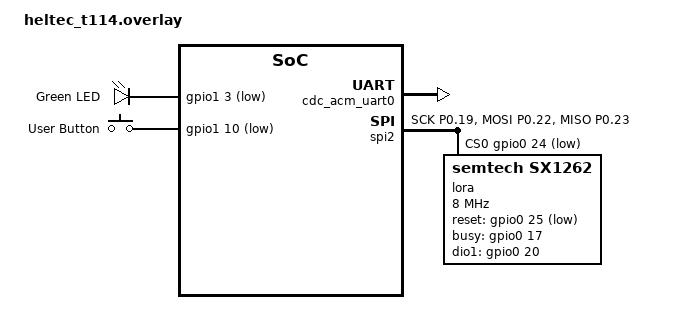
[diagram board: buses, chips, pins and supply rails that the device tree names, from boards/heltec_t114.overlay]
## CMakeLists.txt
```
cmake_minimum_required(VERSION 3.20.0)
find_package(Zephyr REQUIRED HINTS $ENV{ZEPHYR_BASE})
project(lichen_bridge)

# Bridge-zephyr subsystem sources (directly in app since zephyr_library
# from app subdirs doesn't auto-link)
target_sources(app PRIVATE
    src/main.c
    subsys/lichen/lora_l2.c
    subsys/lichen/ipv6_addr.c
)

# Add lichen_l2.c only when full networking stack is enabled
target_sources_ifdef(CONFIG_LICHEN_L2 app PRIVATE
    subsys/lichen/lichen_l2.c
)

# Include headers from subsystems
target_include_directories(app PRIVATE
    ${CMAKE_CURRENT_SOURCE_DIR}/subsys/lichen
)
```

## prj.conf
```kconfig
# LICHEN LoRa Bridge - Zephyr config
#
# Common settings for all boards.
# Board-specific settings go in boards/<board>.conf

# Logging
CONFIG_LOG=y
CONFIG_PRINTK=y
CONFIG_LOG_MODE_IMMEDIATE=y

# SPI is used by supported LoRa board overlays. Boards without a LoRa radio
# leave CONFIG_LORA/CONFIG_LICHEN_LORA_L2 disabled.
CONFIG_SPI=y

# GPIO for LED
CONFIG_GPIO=y

# Random number generator (fallback for EUI-64 if no hwinfo)
CONFIG_ENTROPY_GENERATOR=y
CONFIG_TEST_RANDOM_GENERATOR=y

# Hardware info for stable EUI-64 identity
CONFIG_HWINFO=y

# LICHEN subsystem
CONFIG_LICHEN=y
CONFIG_LICHEN_IPV6=y

# Full Zephyr networking is required for LoRa RX ingress. The legacy
# standalone LICHEN_LORA_L2 mode is disabled because it dropped inbound frames.
CONFIG_NETWORKING=y
CONFIG_NET_IPV6=y
CONFIG_NET_IPV4=n
CONFIG_NET_PKT_RX_COUNT=8
CONFIG_NET_PKT_TX_COUNT=8
CONFIG_NET_BUF_RX_COUNT=16
CONFIG_NET_BUF_TX_COUNT=16

# Safety (spec appendix-c-safety)
CONFIG_STACK_CANARIES=y
CONFIG_STACK_SENTINEL=y
CONFIG_ASSERT=y
CONFIG_ASSERT_VERBOSE=y

# TinyCrypt SHA-256 (lora_l2 EUI-64 identity derivation; the module-owned
# lichen_pubkey_to_iid uses Monocypher SHA-512, not this)
CONFIG_TINYCRYPT=y
CONFIG_TINYCRYPT_SHA256=y

# Routing subsystem (required for announce scheduler)
CONFIG_LICHEN_ROUTING=y

# Periodic announce transmission (spec 9.4)
# Announces node presence every 300s with 0-30s jitter
CONFIG_LICHEN_ANNOUNCE_SCHEDULER=y
```

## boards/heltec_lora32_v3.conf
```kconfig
# Heltec WiFi LoRa 32 V3 board-specific config
#
# ESP32-S3 uses native USB CDC for console.

# USB CDC-ACM serial
CONFIG_USB_DEVICE_STACK=y
CONFIG_USB_CDC_ACM=y
CONFIG_USB_DEVICE_INITIALIZE_AT_BOOT=y
CONFIG_UART_INTERRUPT_DRIVEN=y

# SPI for SX1262
CONFIG_SPI=y
```

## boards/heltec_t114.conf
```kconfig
# Heltec Mesh Node T114 board-specific config
#
# nRF52840 with native USB CDC-ACM.

# USB CDC-ACM serial
CONFIG_USB_DEVICE_STACK=y
CONFIG_USB_CDC_ACM=y
CONFIG_USB_DEVICE_INITIALIZE_AT_BOOT=y
CONFIG_UART_INTERRUPT_DRIVEN=y
CONFIG_USB_DEVICE_VID=0x239A
CONFIG_USB_DEVICE_PID=0x0029
CONFIG_USB_DEVICE_PRODUCT="LICHEN LoRa Bridge"
CONFIG_USB_DEVICE_MANUFACTURER="LICHEN"

# SPI for SX1262
CONFIG_SPI=y
```

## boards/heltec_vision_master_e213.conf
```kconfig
# Heltec Vision Master E213 board-specific config
#
# ESP32-S3 with USB-C uses native USB CDC for console.

# USB CDC-ACM serial
CONFIG_USB_DEVICE_STACK=y
CONFIG_USB_CDC_ACM=y
CONFIG_USB_DEVICE_INITIALIZE_AT_BOOT=y
CONFIG_UART_INTERRUPT_DRIVEN=y

# SPI for SX1262
CONFIG_SPI=y
```

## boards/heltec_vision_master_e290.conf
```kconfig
# Heltec Vision Master E290 board-specific config
#
# ESP32-S3 with USB-C uses native USB CDC for console.

# USB CDC-ACM serial
CONFIG_USB_DEVICE_STACK=y
CONFIG_USB_CDC_ACM=y
CONFIG_USB_DEVICE_INITIALIZE_AT_BOOT=y
CONFIG_UART_INTERRUPT_DRIVEN=y

# SPI for SX1262
CONFIG_SPI=y
```

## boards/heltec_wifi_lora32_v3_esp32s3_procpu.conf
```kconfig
# SPDX-License-Identifier: GPL-3.0-or-later
# SPDX-FileCopyrightText: The contributors to the LICHEN project
#
# Heltec WiFi LoRa 32 V3 gateway config — ESP32-S3 + SX1262 for bridge-zephyr
# WiFi backhaul, UART console on UART1.

CONFIG_LORA=y
CONFIG_LORA_SX126X=y
CONFIG_LICHEN_HAS_LORA=y
CONFIG_LICHEN_RADIO_MODEL_SX126X=y

# WiFi Kconfig fix for ESP32-S3 Heltec V3 (espressif driver, not CONFIG_ESP32_WIFI_STA)
CONFIG_WIFI=y
CONFIG_WIFI_NM=y
CONFIG_ESP_WIFI_ENABLED=y
CONFIG_ESP_WIFI_STA_DISCONNECTED_PM_ENABLE=y

# Bench: UART1 console for non-destructive serial monitoring (avoids CP2102 reset on UART0, see lora_ipv6_mesh-9ia2)
# CONFIG_UART_INTERRUPT_DRIVEN required for Zephyr shell/uart driver on ESP32 (polling insufficient for interactive use)
CONFIG_UART_CONSOLE=y
CONFIG_CONSOLE=y
CONFIG_SERIAL=y
CONFIG_UART_INTERRUPT_DRIVEN=y
```

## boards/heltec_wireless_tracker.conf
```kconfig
# Heltec Wireless Tracker V1.1 board-specific config
#
# ESP32-S3 uses UART0 for console via native USB CDC.

# Disable USB CDC (use UART0 console)
CONFIG_USB_DEVICE_STACK=n
CONFIG_USB_CDC_ACM=n

# UART console
CONFIG_SERIAL=y
CONFIG_CONSOLE=y
CONFIG_UART_CONSOLE=y

# SPI for SX1262
CONFIG_SPI=y
```

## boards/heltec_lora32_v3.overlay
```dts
/*
 * Heltec WiFi LoRa 32 V3 device tree overlay for LICHEN bridge
 *
 * ESP32-S3 + SX1262 LoRa
 *
 * SX1262 SPI pins:
 *   SCK  = GPIO9
 *   MISO = GPIO11
 *   MOSI = GPIO10
 *   NSS  = GPIO8
 *
 * SX1262 control pins:
 *   RESET = GPIO12
 *   BUSY  = GPIO13
 *   DIO1  = GPIO14
 *
 * OLED display (0.96" SSD1306, I2C):
 *   SDA = GPIO17
 *   SCL = GPIO18
 *   RST = GPIO21
 *
 * Vext power control = GPIO36 (active low)
 */

#include <zephyr/dt-bindings/pinctrl/esp32s3-pinctrl.h>

/ {
	chosen {
		zephyr,console = &usb_serial;
		zephyr,shell-uart = &usb_serial;
	};

	aliases {
		led0 = &white_led;
		lora0 = &lora;
	};

	leds {
		compatible = "gpio-leds";
		white_led: led_0 {
			gpios = <&gpio1 3 GPIO_ACTIVE_LOW>;  /* GPIO35 */
			label = "White LED";
		};
	};
};

&pinctrl {
	/* SPI2 for SX1262 */
	spim2_default: spim2_default {
		group1 {
			pinmux = <SPIM2_MISO_GPIO11>,
				 <SPIM2_SCLK_GPIO9>;
		};
		group2 {
			pinmux = <SPIM2_MOSI_GPIO10>;
			output-low;
		};
	};
};

&usb_serial {
	status = "okay";
};

&spi2 {
	status = "okay";
	#address-cells = <1>;
	#size-cells = <0>;
	pinctrl-0 = <&spim2_default>;
	pinctrl-names = "default";
	cs-gpios = <&gpio0 8 GPIO_ACTIVE_LOW>;  /* NSS = GPIO8 */

	lora: sx1262@0 {
		compatible = "semtech,sx1262";
		reg = <0>;
		spi-max-frequency = <8000000>;
		reset-gpios = <&gpio0 12 GPIO_ACTIVE_LOW>;  /* RESET = GPIO12 */
		busy-gpios = <&gpio0 13 GPIO_ACTIVE_HIGH>;  /* BUSY = GPIO13 */
		dio1-gpios = <&gpio0 14 GPIO_ACTIVE_HIGH>;  /* DIO1 = GPIO14 */
		/* DIO2 controls RF switch internally on SX1262 */
		dio2-tx-enable;
	};
};

&gpio0 {
	status = "okay";
};

&gpio1 {
	status = "okay";
};
```

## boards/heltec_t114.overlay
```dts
/*
 * Heltec Mesh Node T114 device tree overlay for LICHEN bridge
 *
 * nRF52840 + SX1262 LoRa + optional 1.14" ST7789 TFT + L76K GPS
 *
 * SX1262 SPI pins:
 *   MOSI  = P0.22
 *   MISO  = P0.23
 *   SCK   = P0.19
 *   NSS   = P0.24
 *
 * SX1262 control pins:
 *   RESET = P0.25
 *   BUSY  = P0.17
 *   DIO1  = P0.20
 *   VEXT  = P0.21 (external power control)
 *
 * GPS L76K UART (optional module):
 *   RX    = P1.05 (37)   PPS     = P1.04 (36)
 *   TX    = P1.07 (39)   STANDBY = P1.02 (34)
 *
 * ST7789 Display (optional accessory):
 *   MOSI  = P1.09 (41)   DC      = P0.12
 *   SCK   = P1.08 (40)   RST     = P0.02
 *   CS    = P0.11        BL      = P0.15
 *
 * User button: P1.10 (active low)
 * LED: Green P1.03
 * Battery ADC: P0.04 (control: P0.06)
 */

/ {
	chosen {
		zephyr,console = &cdc_acm_uart0;
		zephyr,shell-uart = &cdc_acm_uart0;
	};

	aliases {
		led0 = &green_led;
		lora0 = &lora;
		sw0 = &button0;
	};

	leds {
		compatible = "gpio-leds";
		green_led: led_0 {
			gpios = <&gpio1 3 GPIO_ACTIVE_LOW>;
			label = "Green LED";
		};
	};

	buttons {
		compatible = "gpio-keys";
		button0: button_0 {
			gpios = <&gpio1 10 (GPIO_PULL_UP | GPIO_ACTIVE_LOW)>;
			label = "User Button";
		};
	};
};

&zephyr_udc0 {
	cdc_acm_uart0: cdc_acm_uart0 {
		compatible = "zephyr,cdc-acm-uart";
	};
};

/* SX1262 on SPI2 */
&spi2 {
	status = "okay";
	pinctrl-0 = <&spi2_default>;
	pinctrl-1 = <&spi2_sleep>;
	pinctrl-names = "default", "sleep";
	cs-gpios = <&gpio0 24 GPIO_ACTIVE_LOW>;  /* P0.24 = NSS */

	lora: sx1262@0 {
		compatible = "semtech,sx1262";
		reg = <0>;
		spi-max-frequency = <8000000>;
		reset-gpios = <&gpio0 25 GPIO_ACTIVE_LOW>;   /* P0.25 = RST */
		busy-gpios = <&gpio0 17 GPIO_ACTIVE_HIGH>;   /* P0.17 = BUSY */
		dio1-gpios = <&gpio0 20 GPIO_ACTIVE_HIGH>;   /* P0.20 = DIO1 */
		/* DIO2 controls RF switch internally */
		dio2-tx-enable;
		/* TCXO wakeup time in ms */
		tcxo-wakeup-time = <5>;
	};
};

&pinctrl {
	spi2_default: spi2_default {
		group1 {
			psels = <NRF_PSEL(SPIM_SCK, 0, 19)>,
				<NRF_PSEL(SPIM_MOSI, 0, 22)>,
				<NRF_PSEL(SPIM_MISO, 0, 23)>;
		};
	};

	spi2_sleep: spi2_sleep {
		group1 {
			psels = <NRF_PSEL(SPIM_SCK, 0, 19)>,
				<NRF_PSEL(SPIM_MOSI, 0, 22)>,
				<NRF_PSEL(SPIM_MISO, 0, 23)>;
			low-power-enable;
		};
	};
};
```

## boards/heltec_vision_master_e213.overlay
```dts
/*
 * Heltec Vision Master E213 device tree overlay for LICHEN bridge
 *
 * ESP32-S3 + SX1262 LoRa + 2.13" E-ink display
 *
 * SX1262 SPI pins:
 *   SCK  = GPIO9
 *   MISO = GPIO11
 *   MOSI = GPIO10
 *   NSS  = GPIO8
 *
 * SX1262 control pins:
 *   RESET = GPIO12
 *   BUSY  = GPIO13 (active high, directly wired to DIO2)
 *   DIO1  = GPIO14
 *
 * E-ink display (not used by bridge):
 *   CS   = GPIO5
 *   BUSY = GPIO1
 *   DC   = GPIO2
 *   RES  = GPIO3
 *   SCLK = GPIO4
 *   MOSI = GPIO6
 *
 * Vext power control = GPIO18 (active high)
 * ADC control = GPIO46
 * Battery ADC = GPIO7
 * LED power = GPIO45
 * User button = GPIO21
 */

#include <zephyr/dt-bindings/pinctrl/esp32s3-pinctrl.h>

/ {
	chosen {
		zephyr,console = &usb_serial;
		zephyr,shell-uart = &usb_serial;
	};

	aliases {
		lora0 = &lora;
	};
};

&pinctrl {
	/* SPI2 for SX1262 */
	spim2_default: spim2_default {
		group1 {
			pinmux = <SPIM2_MISO_GPIO11>,
				 <SPIM2_SCLK_GPIO9>;
		};
		group2 {
			pinmux = <SPIM2_MOSI_GPIO10>;
			output-low;
		};
	};
};

&usb_serial {
	status = "okay";
};

&spi2 {
	status = "okay";
	#address-cells = <1>;
	#size-cells = <0>;
	pinctrl-0 = <&spim2_default>;
	pinctrl-names = "default";
	cs-gpios = <&gpio0 8 GPIO_ACTIVE_LOW>;  /* NSS = GPIO8 */

	lora: sx1262@0 {
		compatible = "semtech,sx1262";
		reg = <0>;
		spi-max-frequency = <8000000>;
		reset-gpios = <&gpio0 12 GPIO_ACTIVE_LOW>;  /* RESET = GPIO12 */
		busy-gpios = <&gpio0 13 GPIO_ACTIVE_HIGH>;  /* BUSY = GPIO13 */
		dio1-gpios = <&gpio0 14 GPIO_ACTIVE_HIGH>;  /* DIO1 = GPIO14 */
		/* DIO2 controls RF switch internally on SX1262 */
		dio2-tx-enable;
	};
};

&gpio0 {
	status = "okay";
};

&gpio1 {
	status = "okay";
};
```

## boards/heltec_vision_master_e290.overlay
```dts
/*
 * Heltec Vision Master E290 device tree overlay for LICHEN bridge
 *
 * ESP32-S3 + SX1262 LoRa + 2.9" E-ink display
 *
 * SX1262 SPI pins (same as E213):
 *   SCK  = GPIO9
 *   MISO = GPIO11
 *   MOSI = GPIO10
 *   NSS  = GPIO8
 *
 * SX1262 control pins (same as E213):
 *   RESET = GPIO12
 *   BUSY  = GPIO13 (active high, directly wired to DIO2)
 *   DIO1  = GPIO14
 *
 * E-ink display (not used by bridge, pins differ from E213):
 *   CS   = GPIO3
 *   BUSY = GPIO6
 *   DC   = GPIO4
 *   RES  = GPIO5
 *   SCLK = GPIO2
 *   MOSI = GPIO1
 *
 * Vext power control = GPIO18 (active high)
 * ADC control = GPIO46
 * Battery ADC = GPIO7
 * LED power = GPIO45
 * User button = GPIO21
 */

#include <zephyr/dt-bindings/pinctrl/esp32s3-pinctrl.h>

/ {
	chosen {
		zephyr,console = &usb_serial;
		zephyr,shell-uart = &usb_serial;
	};

	aliases {
		lora0 = &lora;
	};
};

&pinctrl {
	/* SPI2 for SX1262 */
	spim2_default: spim2_default {
		group1 {
			pinmux = <SPIM2_MISO_GPIO11>,
				 <SPIM2_SCLK_GPIO9>;
		};
		group2 {
			pinmux = <SPIM2_MOSI_GPIO10>;
			output-low;
		};
	};
};

&usb_serial {
	status = "okay";
};

&spi2 {
	status = "okay";
	#address-cells = <1>;
	#size-cells = <0>;
	pinctrl-0 = <&spim2_default>;
	pinctrl-names = "default";
	cs-gpios = <&gpio0 8 GPIO_ACTIVE_LOW>;  /* NSS = GPIO8 */

	lora: sx1262@0 {
		compatible = "semtech,sx1262";
		reg = <0>;
		spi-max-frequency = <8000000>;
		reset-gpios = <&gpio0 12 GPIO_ACTIVE_LOW>;  /* RESET = GPIO12 */
		busy-gpios = <&gpio0 13 GPIO_ACTIVE_HIGH>;  /* BUSY = GPIO13 */
		dio1-gpios = <&gpio0 14 GPIO_ACTIVE_HIGH>;  /* DIO1 = GPIO14 */
		/* DIO2 controls RF switch internally on SX1262 */
		dio2-tx-enable;
	};
};

&gpio0 {
	status = "okay";
};

&gpio1 {
	status = "okay";
};
```

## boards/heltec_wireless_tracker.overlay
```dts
/*
 * Heltec Wireless Tracker V1.1 device tree overlay for LICHEN bridge
 *
 * ESP32-S3 + SX1262 LoRa + UC6580 GNSS + ST7735 TFT
 *
 * SX1262 SPI pins:
 *   SCK  = GPIO9
 *   MISO = GPIO11
 *   MOSI = GPIO10
 *   NSS  = GPIO8
 *
 * SX1262 control pins:
 *   RESET = GPIO12
 *   BUSY  = GPIO13
 *   DIO1  = GPIO14
 *
 * Display (ST7735, active but unused by bridge):
 *   MOSI = GPIO42, SCK = GPIO41, DC = GPIO40
 *   RST = GPIO39, CS = GPIO38, BL = GPIO21
 *
 * GNSS UC6580 (active but unused by bridge):
 *   RX = GPIO33, TX = GPIO34, PWR_EN = GPIO3 (HIGH to enable)
 */

#include <zephyr/dt-bindings/pinctrl/esp32s3-pinctrl.h>

/ {
	chosen {
		zephyr,console = &uart0;
		zephyr,shell-uart = &uart0;
	};

	aliases {
		lora0 = &lora;
	};
};

&pinctrl {
	/* SPI2 for SX1262 */
	spim2_default: spim2_default {
		group1 {
			pinmux = <SPIM2_MISO_GPIO11>,
				 <SPIM2_SCLK_GPIO9>;
		};
		group2 {
			pinmux = <SPIM2_MOSI_GPIO10>;
			output-low;
		};
	};
};

&spi2 {
	status = "okay";
	#address-cells = <1>;
	#size-cells = <0>;
	pinctrl-0 = <&spim2_default>;
	pinctrl-names = "default";
	cs-gpios = <&gpio0 8 GPIO_ACTIVE_LOW>;  /* NSS = GPIO8 */

	lora: sx1262@0 {
		compatible = "semtech,sx1262";
		reg = <0>;
		spi-max-frequency = <8000000>;
		reset-gpios = <&gpio0 12 GPIO_ACTIVE_LOW>;  /* RESET = GPIO12 */
		busy-gpios = <&gpio0 13 GPIO_ACTIVE_HIGH>;  /* BUSY = GPIO13 */
		dio1-gpios = <&gpio0 14 GPIO_ACTIVE_HIGH>;  /* DIO1 = GPIO14 */
		/* DIO2 controls RF switch internally */
		dio2-tx-enable;
	};
};

&uart0 {
	status = "okay";
	current-speed = <115200>;
};

&gpio0 {
	status = "okay";
};

&gpio1 {
	status = "okay";
};
```

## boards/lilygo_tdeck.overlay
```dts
/*
 * LilyGo T-Deck device tree overlay for LICHEN bridge
 *
 * ESP32-S3 + SX1262 LoRa
 *
 * SX1262 SPI pins (shared bus):
 *   SCK  = GPIO40
 *   MISO = GPIO38
 *   MOSI = GPIO41
 *   NSS  = GPIO9
 *
 * SX1262 control pins:
 *   RESET = GPIO17
 *   BUSY  = GPIO13
 *   DIO1  = GPIO45 (gpio1 pin 13)
 *
 * Note: T-Deck shares SPI bus with display (ST7789) and SD card.
 * Each device uses separate chip select.
 */

#include <zephyr/dt-bindings/pinctrl/esp32s3-pinctrl.h>

/ {
	chosen {
		zephyr,console = &uart0;
		zephyr,shell-uart = &uart0;
	};

	aliases {
		lora0 = &lora;
	};
};

&pinctrl {
	/* SPI2 for SX1262 (shared with display/SD) */
	spim2_default: spim2_default {
		group1 {
			pinmux = <SPIM2_MISO_GPIO38>,
				 <SPIM2_SCLK_GPIO40>;
		};
		group2 {
			pinmux = <SPIM2_MOSI_GPIO41>;
			output-low;
		};
	};
};

&spi2 {
	status = "okay";
	#address-cells = <1>;
	#size-cells = <0>;
	pinctrl-0 = <&spim2_default>;
	pinctrl-names = "default";
	cs-gpios = <&gpio0 9 GPIO_ACTIVE_LOW>;  /* NSS = GPIO9 */

	lora: sx1262@0 {
		compatible = "semtech,sx1262";
		reg = <0>;
		spi-max-frequency = <8000000>;
		reset-gpios = <&gpio0 17 GPIO_ACTIVE_LOW>;  /* RESET = GPIO17 */
		busy-gpios = <&gpio0 13 GPIO_ACTIVE_HIGH>;  /* BUSY = GPIO13 */
		dio1-gpios = <&gpio1 13 GPIO_ACTIVE_HIGH>;  /* DIO1 = GPIO45 */
		/* DIO2 controls RF switch internally */
		dio2-tx-enable;
	};
};

&uart0 {
	status = "okay";
	current-speed = <115200>;
};

&gpio0 {
	status = "okay";
};

&gpio1 {
	status = "okay";
};
```

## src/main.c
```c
/*
 * LICHEN LoRa Bridge - Zephyr version
 * IPv6 mesh networking over LoRa.
 */

#include <zephyr/kernel.h>
#include <zephyr/device.h>
#include <zephyr/drivers/gpio.h>
#include <zephyr/logging/log.h>

#if defined(CONFIG_USB_DEVICE_STACK)
#include <zephyr/usb/usb_device.h>
#endif

#if defined(CONFIG_LICHEN_LORA_L2)
#include "lora_l2.h"
#endif

#if defined(CONFIG_LICHEN_IPV6)
#include "ipv6_addr.h"
#endif

LOG_MODULE_REGISTER(main, LOG_LEVEL_INF);

/* LED (optional - not all boards have one) */
#if DT_NODE_EXISTS(DT_ALIAS(led0))
static const struct gpio_dt_spec led = GPIO_DT_SPEC_GET(DT_ALIAS(led0), gpios);
#define HAS_LED 1
#endif

#if defined(CONFIG_LICHEN_LORA_L2)
/**
 * @brief Handle received LoRa packets
 */
static void lora_rx_handler(const uint8_t *data, size_t len,
                            int16_t rssi, int8_t snr, void *user_data)
{
    ARG_UNUSED(user_data);

    LOG_INF("RX: %zu bytes, RSSI=%d dBm, SNR=%d dB", len, rssi, snr);

    /*
     * Future: Parse LICHEN frame, verify signature, check replay,
     * decompress SCHC, inject into IPv6 stack.
     */
}
#endif

int main(void)
{
    int ret;

    LOG_INF("LICHEN bridge (Zephyr) starting...");

#if defined(HAS_LED)
    if (gpio_is_ready_dt(&led)) {
        gpio_pin_configure_dt(&led, GPIO_OUTPUT_ACTIVE);
        gpio_pin_set_dt(&led, 1);
    }
#endif

#if defined(CONFIG_USB_DEVICE_STACK)
    ret = usb_enable(NULL);
    if (ret != 0) {
        LOG_ERR("USB enable failed: %d", ret);
    }
    k_sleep(K_MSEC(1000));
    LOG_INF("USB CDC ready");
#else
    LOG_INF("UART console ready");
#endif

#if defined(CONFIG_LICHEN_LORA_L2)
    /* Initialize LoRa L2 layer */
    ret = lichen_lora_l2_init();
    if (ret < 0) {
        LOG_ERR("LoRa L2 init failed: %d", ret);
        goto main_loop;
    }

    /* Set up RX callback */
    lichen_lora_l2_set_rx_callback(lora_rx_handler, NULL);

    /* Start LoRa L2 */
    ret = lichen_lora_l2_start();
    if (ret < 0) {
        LOG_ERR("LoRa L2 start failed: %d", ret);
        goto main_loop;
    }

    /* Log our link-layer address */
    const uint8_t *eui64 = lichen_lora_l2_get_eui64();
    LOG_INF("EUI-64: %02x:%02x:%02x:%02x:%02x:%02x:%02x:%02x",
            eui64[0], eui64[1], eui64[2], eui64[3],
            eui64[4], eui64[5], eui64[6], eui64[7]);

#if defined(CONFIG_LICHEN_IPV6)
    /* Derive and log link-local address */
    uint8_t iid[8];
    struct in6_addr ll_addr;
    char addr_str[LICHEN_IPV6_ADDR_STR_LEN];
    lichen_eui64_to_iid(eui64, iid);
    lichen_make_link_local(iid, &ll_addr);
    lichen_ipv6_addr_to_str(&ll_addr, addr_str, sizeof(addr_str));
    LOG_INF("Link-local: %s", addr_str);
#endif

    LOG_INF("LoRa L2 active: SF10, BW125, 915MHz");
#endif /* CONFIG_LICHEN_LORA_L2 */

#if defined(HAS_LED)
    if (gpio_is_ready_dt(&led)) {
        gpio_pin_set_dt(&led, 0);
    }
#endif

main_loop:
    LOG_INF("Ready - LICHEN IPv6/LoRa mesh");

    while (1) {
        k_sleep(K_SECONDS(60));
        LOG_DBG("tick");
    }

    return 0;
}
```
